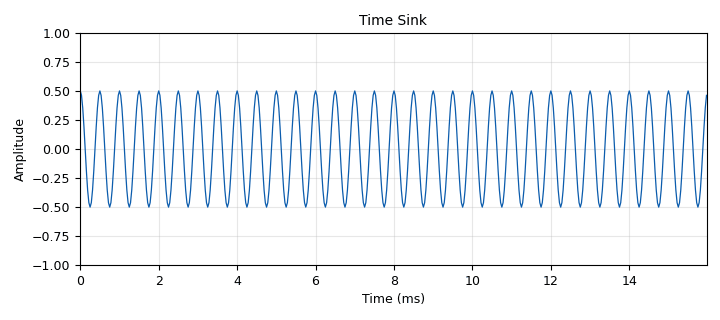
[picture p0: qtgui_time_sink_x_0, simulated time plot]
options:
  parameters:
    generate_options: qt_gui
    id: fg_ch16_002
    output_language: python
    title: FG-CH16-002
  states: {}

blocks:
- name: freq
  id: variable_qtgui_range
  parameters:
    gui_hint: 0,0,1,2
    label: '"Frequency"'
    start: '500'
    step: '100'
    stop: '8000'
    value: '2000'
  states: {}
- name: level
  id: variable_qtgui_chooser
  parameters:
    gui_hint: 1,0,1,1
    label: '"Amplitude"'
    labels: '["faible", "moyen", "fort"]'
    num_opts: '0'
    options: '[0.2, 0.5, 0.8]'
    type: real
    value: '0.5'
  states: {}
- name: marque
  id: variable_qtgui_push_button
  parameters:
    gui_hint: 2,1,1,1
    label: '"Marker"'
    pressed: '1'
    released: '0'
    type: int
    value: '0'
  states: {}
- name: noise
  id: variable_qtgui_check_box
  parameters:
    'false': '0'
    gui_hint: 1,1,1,1
    label: '"Noise"'
    'true': '0.08'
    type: real
    value: '0'
  states: {}
- name: note
  id: variable_qtgui_label
  parameters:
    gui_hint: 3,0,1,2
    label: '"Etat"'
    type: string
    value: '"pret"'
  states: {}
- name: offset
  id: variable_qtgui_entry
  parameters:
    gui_hint: 2,0,1,1
    label: '"Offset"'
    type: real
    value: '0'
  states: {}
- name: samp_rate
  id: variable
  parameters:
    value: '32000'
  states: {}
- name: analog_noise_source_x_0
  id: analog_noise_source_x
  parameters:
    amp: noise
    noise_type: analog.GR_GAUSSIAN
    seed: '0'
    type: float
  states: {}
- name: analog_sig_source_x_0
  id: analog_sig_source_x
  parameters:
    amp: level
    freq: freq
    offset: offset
    phase: '0'
    samp_rate: samp_rate
    type: float
    waveform: analog.GR_COS_WAVE
  states: {}
- name: blocks_add_xx_0
  id: blocks_add_xx
  parameters:
    type: float
  states: {}
- name: blocks_throttle2_0
  id: blocks_throttle2
  parameters:
    samples_per_second: samp_rate
    type: float
  states: {}
- name: qtgui_time_sink_x_0
  id: qtgui_time_sink_x
  parameters:
    gui_hint: 4,0,1,2
    name: '"Time Sink"'
    size: '512'
    srate: samp_rate
    type: float
  states: {}

connections:
- [analog_noise_source_x_0, '0', blocks_add_xx_0, '1']
- [analog_sig_source_x_0, '0', blocks_add_xx_0, '0']
- [blocks_add_xx_0, '0', blocks_throttle2_0, '0']
- [blocks_throttle2_0, '0', qtgui_time_sink_x_0, '0']

metadata:
  file_format: 1
  grc_version: 3.10.12.0
